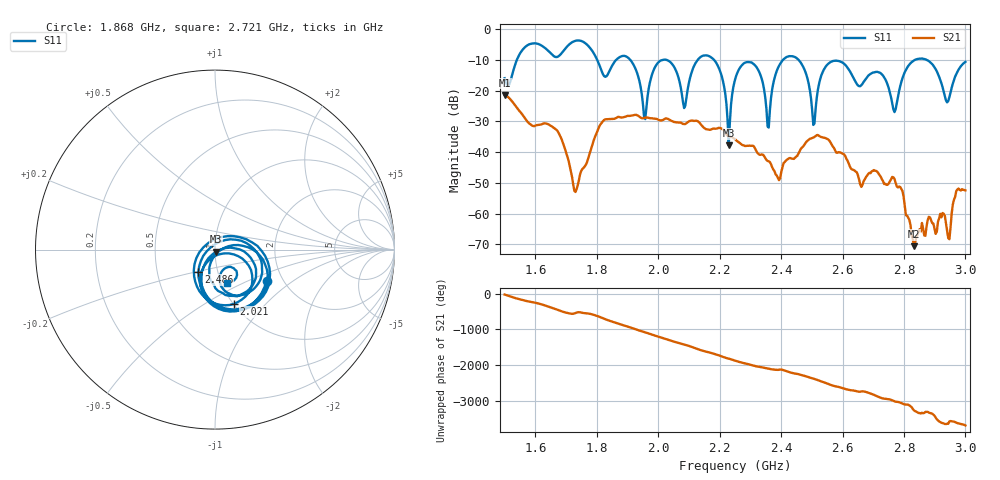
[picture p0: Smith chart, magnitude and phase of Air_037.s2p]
# HZ S RI R 50
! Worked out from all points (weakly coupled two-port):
!   404 points, 1.5 GHz to 3 GHz, reference 50 ohm
!   highest |S21| = -21.42 dB at 1.5 GHz (marker M1); lowest = -70.6 dB at 2.833 GHz (marker M2)
!   lowest |S11| = -37.8 dB at 2.23 GHz (marker M3), VSWR 1.03, Z = 50.5 - j1.18 ohm
!   |S11| at or under -10 dB: 2.182 GHz to 2.406 GHz (224.1 MHz wide, 9.77 % of centre); 2.457 GHz to 2.835 GHz (378 MHz wide, 14.3 % of centre); 2.875 GHz to end of sweep (the widest 3 of 7)
!   S12 and S22 are empty: the file has one direction only
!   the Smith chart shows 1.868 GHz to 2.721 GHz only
!   S11 on the Smith chart (normalised r, x): 1.868 GHz: 1.65, -0.65; 2.021 GHz: 1.01, -0.68; 2.486 GHz: 0.81, -0.21; 2.721 GHz: 1.07, -0.41
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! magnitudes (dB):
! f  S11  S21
! 1.5 GHz  -15.9  -21.4
! 1.731 GHz  -3.8  -52.9
! 1.753 GHz  -4.0  -45.5
! 1.868 GHz  -9.5  -28.5
! 1.958 GHz  -29.2  -28.8
! 2.002 GHz  -10.6  -29.5
! 2.021 GHz  -9.9  -29.2
! 2.084 GHz  -25.6  -30.8
! 2.177 GHz  -9.5  -32.4
! 2.23 GHz  -37.8  -34.8
! 2.252 GHz  -15.8  -35.9
! 2.315 GHz  -11.7  -38.8
! 2.36 GHz  -32.0  -43.0
! 2.39 GHz  -12.7  -48.3
! 2.486 GHz  -16.2  -36.3
! 2.501 GHz  -26.4  -35.4
! 2.561 GHz  -10.7  -36.8
! 2.721 GHz  -14.1  -47.5
! 2.751 GHz  -19.2  -50.1
! 2.833 GHz  -10.2  -70.6
! 2.94 GHz  -23.8  -65.7
! 3 GHz  -10.6  -52.4
